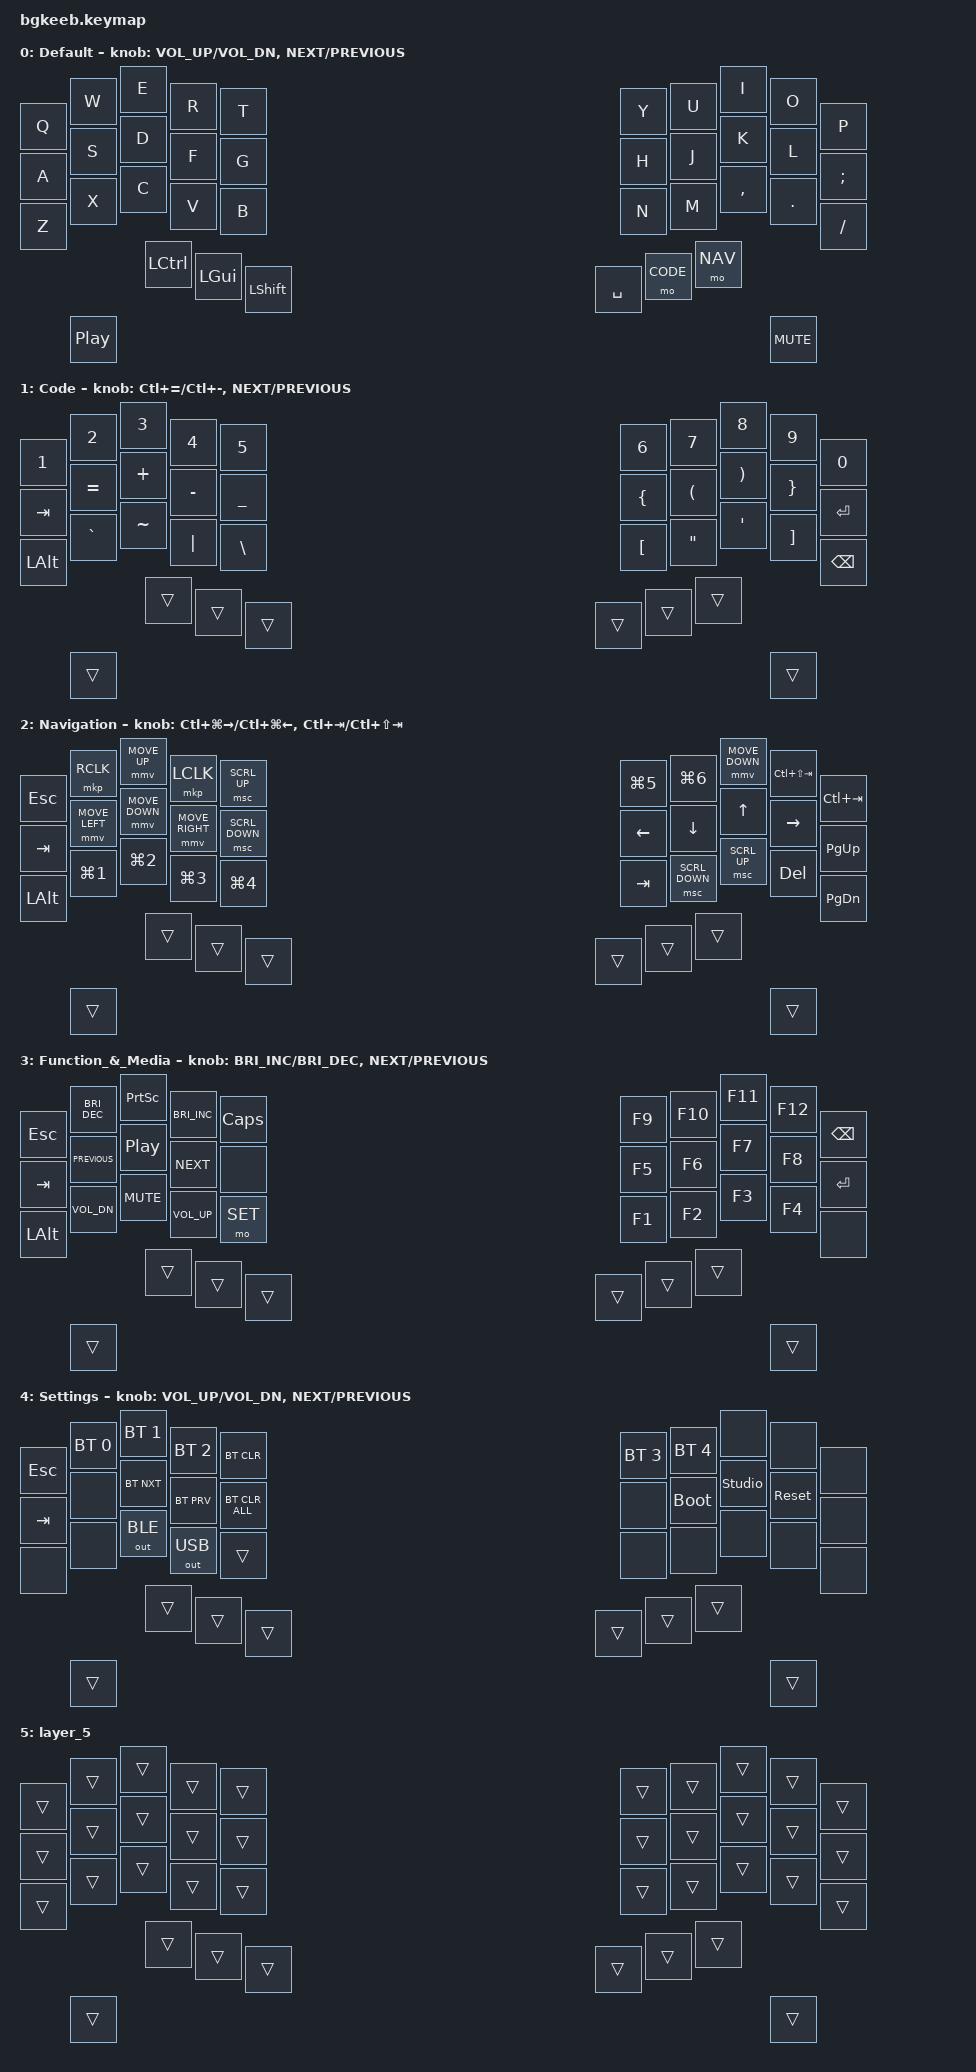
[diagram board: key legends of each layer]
// Swweeep 36-key + 2 encoders — Strategy A (0% Rolling, Hold-and-Release Hub-and-Spoke)
// Tuned for EndeavourOS tiling WM (Win+HJKL, Win+1..9, Win+Shift+1..9)

#include <behaviors.dtsi>
#include <dt-bindings/zmk/bt.h>
#include <dt-bindings/zmk/keys.h>
#include <dt-bindings/zmk/outputs.h>
#include <dt-bindings/zmk/pointing.h>

#define DEFAULT 0
#define CODE    1
#define NAV     2
#define FUNC    3
#define SET     4

&caps_word { continue-list = <UNDERSCORE MINUS>; };

/ {
    conditional_layers {
        compatible = "zmk,conditional-layers";

        // Hold CODE + NAV (adjacent right thumbs) -> Function & Media

        tri_func {
            if-layers = <CODE NAV>;
            then-layer = <FUNC>;
        };
    };

    combos {
        compatible = "zmk,combos";

        // --- Preserved Original Combos (25ms window for 70-100 WPM) ---

        combo_tab {
            bindings = <&kp TAB>;
            key-positions = <0 1>; // Q + W
            timeout-ms = <25>;
            require-prior-idle-ms = <100>;
            layers = <DEFAULT CODE>;
        };

        combo_backspace {
            bindings = <&kp BACKSPACE>;
            key-positions = <12 13>; // D + F
            timeout-ms = <25>;
            layers = <DEFAULT CODE>;
        };

        combo_enter {
            bindings = <&kp ENTER>;
            key-positions = <16 17>; // J + K
            timeout-ms = <25>;
            require-prior-idle-ms = <100>;
            layers = <DEFAULT CODE>;
        };

        combo_home {
            bindings = <&kp HOME>;
            key-positions = <5 6>; // Y + U
            timeout-ms = <25>;
            require-prior-idle-ms = <100>;
            layers = <DEFAULT CODE>;
        };

        combo_end {
            bindings = <&kp END>;
            key-positions = <18 19>; // L + ;
            timeout-ms = <25>;
            require-prior-idle-ms = <100>;
            layers = <DEFAULT CODE>;
        };

        combo_alt {
            bindings = <&kp LEFT_ALT>;
            key-positions = <20 21>; // Z + X
            timeout-ms = <25>;
            slow-release;
            layers = <DEFAULT CODE>;
        };

        combo_ctrl_backspace {
            bindings = <&kp LC(BACKSPACE)>;
            key-positions = <22 23>; // C + V
            timeout-ms = <25>;
            layers = <DEFAULT CODE>;
        };

        combo_quote {
            bindings = <&kp SINGLE_QUOTE>;
            key-positions = <27 28>; // , + .
            timeout-ms = <25>;
            require-prior-idle-ms = <100>;
            layers = <DEFAULT CODE>;
        };

        // --- Non-Rolling Utility Combos ---

        combo_esc {
            bindings = <&kp ESCAPE>;
            key-positions = <0 2>; // Q + E (non-adjacent)
            timeout-ms = <30>;
            require-prior-idle-ms = <100>;
            layers = <DEFAULT CODE>;
        };

        combo_caps_word {
            bindings = <&caps_word>;
            key-positions = <14 15>; // G + H (cross-hand)
            timeout-ms = <30>;
            require-prior-idle-ms = <100>;
            layers = <DEFAULT>;
        };

        LeftControl {
            bindings = <&kp LCTRL>;
            key-positions = <28 29>; // . + /
            timeout-ms = <25>;
            slow-release;
            layers = <DEFAULT CODE>;
        };
    };

    keymap {
        compatible = "zmk,keymap";

        default_layer {
            display-name = "Default";
            bindings = <
&kp Q    &kp W               &kp E        &kp R       &kp T         &kp Y        &kp U       &kp I        &kp O         &kp P
&kp A    &kp S               &kp D        &kp F       &kp G         &kp H        &kp J       &kp K        &kp L         &kp SEMICOLON
&kp Z    &kp X               &kp C        &kp V       &kp B         &kp N        &kp M       &kp COMMA    &kp DOT       &kp FSLH
         &kp C_PLAY_PAUSE    &kp LCTRL    &kp LGUI    &kp LSHIFT    &kp SPACE    &mo CODE    &mo NAV      &kp C_MUTE
            >;

            sensor-bindings =
                <&inc_dec_kp C_VOL_UP C_VOL_DN>,
                <&inc_dec_kp C_NEXT C_PREVIOUS>;
        };

        code_layer {
            display-name = "Code";
            bindings = <
&kp NUMBER_1    &kp NUMBER_2    &kp NUMBER_3    &kp NUMBER_4    &kp NUMBER_5      &kp NUMBER_6        &kp NUMBER_7            &kp NUMBER_8             &kp NUMBER_9         &kp NUMBER_0
&kp TAB         &kp EQUAL       &kp PLUS        &kp MINUS       &kp UNDERSCORE    &kp LEFT_BRACE      &kp LEFT_PARENTHESIS    &kp RIGHT_PARENTHESIS    &kp RIGHT_BRACE      &kp ENTER
&kp LALT        &kp GRAVE       &kp TILDE       &kp PIPE        &kp BACKSLASH     &kp LEFT_BRACKET    &kp DOUBLE_QUOTES       &kp SINGLE_QUOTE         &kp RIGHT_BRACKET    &kp BACKSPACE
                &trans          &trans          &trans          &trans            &trans              &trans                  &trans                   &trans
            >;

            sensor-bindings =
                <&inc_dec_kp LC(EQUAL) LC(MINUS)>,
                <&inc_dec_kp C_NEXT C_PREVIOUS>;
        };

        nav_layer {
            display-name = "Navigation";
            bindings = <
&kp ESCAPE    &mkp RCLK         &mmv MOVE_UP        &mkp LCLK          &msc SCRL_UP      &kp LG(N5)    &kp LG(N6)        &mmv MOVE_DOWN    &kp LC(LS(TAB))    &kp LC(TAB)
&kp TAB       &mmv MOVE_LEFT    &mmv MOVE_DOWN      &mmv MOVE_RIGHT    &msc SCRL_DOWN    &kp LEFT      &kp DOWN          &kp UP_ARROW      &kp RIGHT          &kp PG_UP
&kp LALT      &kp LG(N1)        &kp LG(NUMBER_2)    &kp LG(N3)         &kp LG(N4)        &kp TAB       &msc SCRL_DOWN    &msc SCRL_UP      &kp DELETE         &kp PG_DN
              &trans            &trans              &trans             &trans            &trans        &trans            &trans            &trans
            >;

            sensor-bindings =
                <&inc_dec_kp LC(LG(RIGHT)) LC(LG(LEFT))>,
                <&inc_dec_kp LC(TAB) LC(LS(TAB))>;
        };

        function_layer {
            display-name = "Function_&_Media";
            bindings = <
&kp ESCAPE    &kp C_BRIGHTNESS_DEC    &kp PRINTSCREEN     &kp C_BRIGHTNESS_INC    &kp CAPS    &kp F9    &kp F10    &kp F11    &kp F12    &kp BACKSPACE
&kp TAB       &kp C_PREVIOUS          &kp C_PLAY_PAUSE    &kp C_NEXT              &none       &kp F5    &kp F6     &kp F7     &kp F8     &kp ENTER
&kp LALT      &kp C_VOL_DN            &kp C_MUTE          &kp C_VOL_UP            &mo SET     &kp F1    &kp F2     &kp F3     &kp F4     &none
              &trans                  &trans              &trans                  &trans      &trans    &trans     &trans     &trans
            >;

            sensor-bindings =
                <&inc_dec_kp C_BRIGHTNESS_INC C_BRIGHTNESS_DEC>,
                <&inc_dec_kp C_NEXT C_PREVIOUS>;
        };

        settings_layer {
            display-name = "Settings";
            bindings = <
&kp ESCAPE    &bt BT_SEL 0    &bt BT_SEL 1    &bt BT_SEL 2    &bt BT_CLR        &bt BT_SEL 3    &bt BT_SEL 4    &none             &none         &none
&kp TAB       &none           &bt BT_NXT      &bt BT_PRV      &bt BT_CLR_ALL    &none           &bootloader     &studio_unlock    &sys_reset    &none
&none         &none           &out OUT_BLE    &out OUT_USB    &trans            &none           &none           &none             &none         &none
              &trans          &trans          &trans          &trans            &trans          &trans          &trans            &trans
            >;

            sensor-bindings =
                <&inc_dec_kp C_VOL_UP C_VOL_DN>,
                <&inc_dec_kp C_NEXT C_PREVIOUS>;
        };

        layer_5 {
            bindings = <
&trans    &trans    &trans    &trans    &trans    &trans    &trans    &trans    &trans    &trans
&trans    &trans    &trans    &trans    &trans    &trans    &trans    &trans    &trans    &trans
&trans    &trans    &trans    &trans    &trans    &trans    &trans    &trans    &trans    &trans
          &trans    &trans    &trans    &trans    &trans    &trans    &trans    &trans
            >;
        };
    };
};
